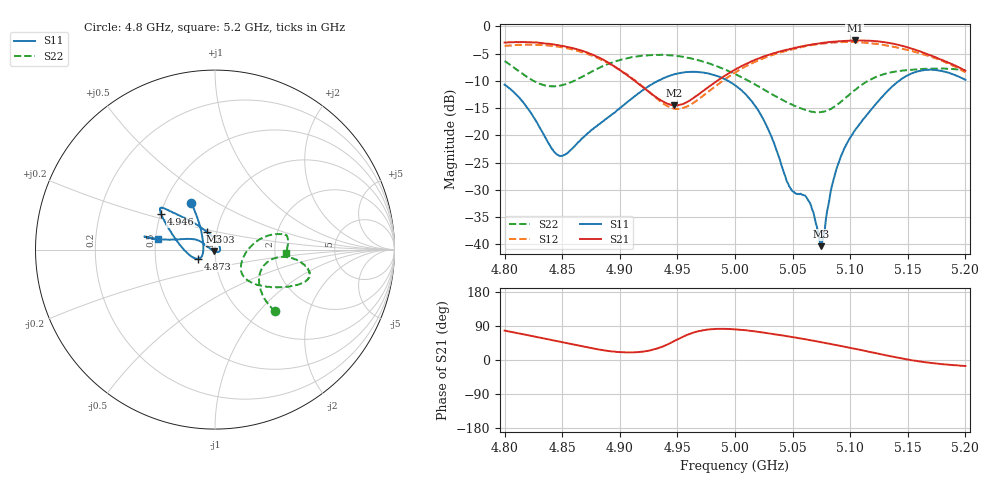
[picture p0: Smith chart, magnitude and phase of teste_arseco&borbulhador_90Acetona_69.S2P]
! Network Analyzer HP8722D
! Hewlett-Packard
! Data name: Linha & Wilkinson
! Saver's name: Rodrigo Anjos
! Comments: Teste da utilização de aquisição
! continua pelo VNA HP8722D
! Time and date: 17/4/2025 11:37
!  Frequency  S11  S21  S12  S22
# HZ  S  MA R 50
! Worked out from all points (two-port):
!   401 points, 4.8 GHz to 5.2 GHz, reference 50 ohm
!   highest |S21| = -2.59 dB at 5.104 GHz (marker M1); lowest = -14.5 dB at 4.947 GHz (marker M2)
!   |S21| within 3 dB of the highest: start of sweep to 4.881 GHz; 5.024 GHz to 5.173 GHz (149 MHz wide, 2.92 % of centre)
!   lowest |S11| = -40.4 dB at 5.075 GHz (marker M3), VSWR 1.02, Z = 49.5 - j0.837 ohm
!   |S11| at or under -10 dB: start of sweep to 4.933 GHz; 4.994 GHz to 5.143 GHz (148.5 MHz wide, 2.93 % of centre)
!   |S22| runs from -15.8 to -5.2 dB; largest |S21 - S12| = 1
!   S11 on the Smith chart (normalised r, x): 4.8 GHz: 0.68, +0.38; 4.873 GHz: 0.83, -0.08; 4.946 GHz: 0.50, +0.23; 5.03 GHz: 0.90, +0.18; 5.2 GHz: 0.52, +0.07
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4.8e9  0.2913 117.1  0.7098 77.6  0.6624 -15.9  0.4799 -45.8
4.818e9  0.1895 119.8  0.7181 66.8  0.6794 -24.0  0.3522 -42.6
4.846e9  0.06602 167.5  0.674 49.4  0.6528 -37.2  0.2829 -20.4
4.867e9  0.09317 -150.5  0.5992 36.4  0.5794 -48.0  0.3438 -7.6
4.873e9  0.106 -151.5  0.5684 32.9  0.5517 -51.1  0.3709 -6.4
4.901e9  0.1808 177.4  0.391 20.5  0.3922 -62.7  0.4943 -9.1
4.934e9  0.3197 151.0  0.2145 31.8  0.21 -55.8  0.5464 -15.7
4.946e9  0.3591 146.6  0.1889 47.8  0.1769 -39.5  0.5397 -18.4
4.947e9  0.3623 146.4  0.1877 49.5  0.1761 -38.0  0.5381 -18.5
4.975e9  0.3727 141.3  0.268 79.7  0.2426 -2.4  0.4658 -26.2
5e9  0.2888 137.2  0.401 80.7  0.3762 3.4  0.3648 -34.6
5.017e9  0.1895 128.3  0.4912 75.6  0.4698 0.2  0.2945 -40.8
5.03e9  0.1068 113.9  0.551 70.0  0.5352 -3.9  0.2446 -43.4
5.047e9  0.03411 52.0  0.617 61.6  0.606 -10.4  0.1961 -40.9
5.061e9  0.02786 -20.8  0.6652 54.8  0.6567 -17.0  0.1712 -32.2
5.067e9  0.02081 -42.3  0.6841 51.5  0.674 -20.3  0.1642 -26.2
5.075e9  0.009588 -118.3  0.7026 46.9  0.694 -24.7  0.1634 -16.0
5.088e9  0.04873 156.7  0.726 39.3  0.7137 -32.7  0.1885 1.4
5.104e9  0.1106 151.7  0.7426 29.7  0.7182 -43.1  0.2595 13.2
5.134e9  0.2645 167.9  0.7039 10.5  0.6592 -61.2  0.3755 13.3
5.164e9  0.3966 169.6  0.5709 -5.4  0.5518 -74.8  0.4073 11.2
5.2e9  0.3228 169.5  0.3918 -15.8  0.3797 -84.4  0.3957 -2.5
